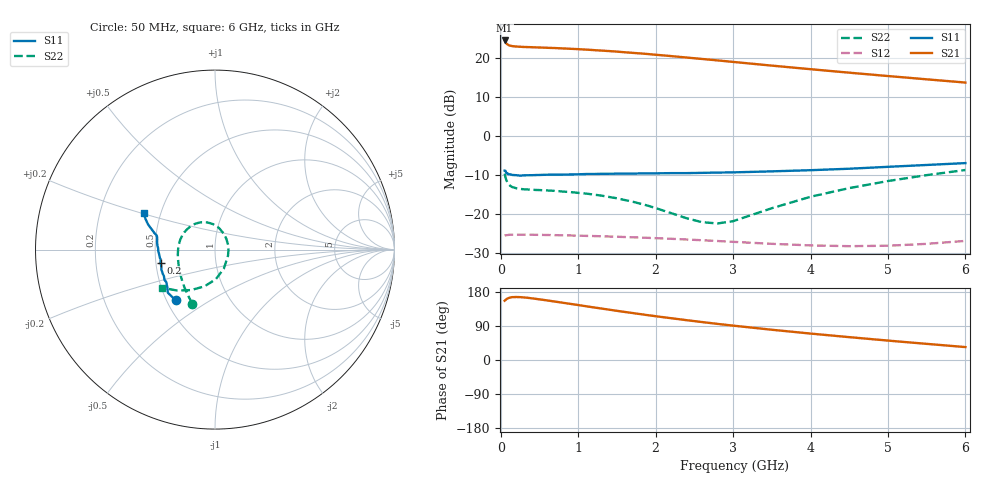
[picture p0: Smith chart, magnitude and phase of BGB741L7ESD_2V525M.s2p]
!  Infineon Technologies AG
!  BGB741L7ESD
!  Vce = 2.5V, Ic = 25.0mA
!  DATUM: 30.06.2009 10:09:09
# GHz  S  MA  R  50
!f  S11  S21  S12  S22
!GHz  Mag  Ang  Mag  Ang  Mag  Ang  Mag  Ang
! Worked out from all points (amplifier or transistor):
!   44 points, 50 MHz to 6 GHz, reference 50 ohm
!   highest |S21| = 24.4 dB at 50 MHz (marker M1)
!   |S21| within 3 dB of that: start of sweep to 1.584 GHz
!   unconditionally stable (mu >= 1): 188.6 MHz to end of sweep
!   at 120 MHz: K = 0.97, MSG = 24.3 dB, |S12| = -25.4 dB
!   at 1 GHz: K = 1.04, MAG = 22.7 dB, |S12| = -25.6 dB
!   at 6 GHz: K = 1.63, MAG = 15.6 dB, |S12| = -27.0 dB
!   S11 on the Smith chart (normalised r, x): 50 MHz: 0.56, -0.36; 200 MHz: 0.53, -0.09; 6 GHz: 0.40, +0.20
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0.05  0.3578 -127.7  16.66 156.4  0.05226 15.9  0.3266 -112.8
0.06  0.356 -137.6  15.83 158.1  0.05293 13.5  0.2954 -120.7
0.07  0.3383 -141.8  15.32 160.1  0.05298 11.4  0.2745 -127.5
0.08  0.3264 -146.3  14.97 161.5  0.05318 10.1  0.2596 -133.2
0.1  0.3204 -152.6  14.53 163.4  0.05345 7.9  0.2403 -142.5
0.14  0.3163 -161.0  14.14 165.6  0.05383 5.4  0.222 -155.3
0.2  0.312 -166.5  13.92 166.2  0.0539 3.4  0.2121 -167.1
0.35  0.3115 -173.5  13.7 164.1  0.05378 1.1  0.2046 175.4
0.7  0.3167 179.9  13.31 154.2  0.05313 -0.9  0.1963 150.5
1.1  0.3228 175.2  12.73 141.9  0.05199 -1.9  0.1815 127.6
1.4  0.3253 172.5  12.18 132.8  0.05104 -2.4  0.164 111.8
1.6  0.3263 170.6  11.76 126.9  0.05028 -2.6  0.1499 100.8
1.9  0.3288 168.8  11.16 118.3  0.04908 -2.7  0.1269 83.0
2.2  0.3315 167.4  10.5 110.3  0.04772 -2.5  0.1018 62.1
2.8  0.337 166.0  9.246 95.3  0.04468 -1.2  0.07506 -2.6
3  0.3389 165.8  8.845 90.7  0.0436 -0.3  0.08021 -25.4
3.5  0.3493 164.8  7.928 79.8  0.04113 3.0  0.1176 -65.5
4  0.3616 163.3  7.132 69.7  0.03924 7.7  0.165 -88.4
4.5  0.3776 161.5  6.435 60.3  0.03837 13.9  0.2131 -106.0
5  0.3994 159.3  5.829 51.2  0.03887 20.9  0.2625 -120.7
5.5  0.4218 156.4  5.289 42.6  0.04109 27.5  0.3126 -133.2
6  0.4458 153.2  4.809 34.1  0.04483 32.8  0.3636 -144.3
